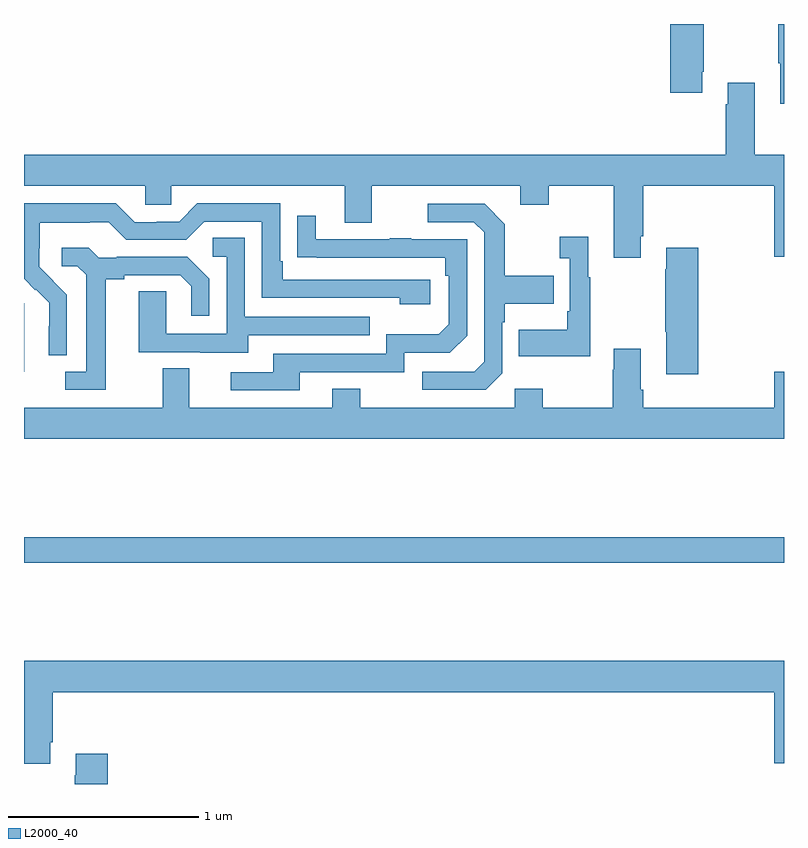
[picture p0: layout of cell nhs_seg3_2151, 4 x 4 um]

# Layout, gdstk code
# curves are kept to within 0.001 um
import gdstk
lib = gdstk.Library(unit=1e-6, precision=1e-09)
def R(c, l, rs):  # rectangles x0, y0, x1, y1
    for r in rs: c.add(gdstk.rectangle(r[:2], r[2:], *l))
def P(c, l, *ps):  # polygons
    for p in ps: c.add(gdstk.Polygon(p, *l))
L2000_40 = (2000, 40)

nhs_seg3_2151 = lib.new_cell('nhs_seg3_2151')
R(nhs_seg3_2151, L2000_40, [(221,733.564,225,733.7), (221,734.57,221.002,734.931)])
P(nhs_seg3_2151, L2000_40, [(225,736.4),(224.97,736.4),(224.97,736.193),(224.981,736.193),(224.981,735.981),(225,735.981)],
  [(224.569,736.15),(224.577,736.15),(224.577,736.4),(224.402,736.4),(224.402,736.038),(224.569,736.038)],
  [(224.245,735.283),(224.258,735.283),(224.258,735.548),(224.948,735.548),(224.948,735.174),(225,735.174),(225,735.712),(224.845,735.712),(224.845,736.09),(224.705,736.09),(224.705,735.977),(224.693,735.977),(224.693,735.712),(221,735.712),(221,735.548),(221.637,735.548),(221.637,735.45),(221.775,735.45),(221.775,735.548),(222.689,735.548),(222.689,735.354),(222.829,735.354),(222.829,735.548),(223.613,735.548),(223.613,735.449),(223.761,735.449),(223.761,735.548),(224.105,735.548),(224.105,735.171),(224.245,735.171)],
  [(221.226,734.974),(221.08,735.122),(221.08,735.219),(221.082,735.219),(221.082,735.353),(221.345,735.353),(221.345,735.357),(221.445,735.357),(221.538,735.264),(221.853,735.264),(221.949,735.36),(222.252,735.36),(222.252,734.958),(222.977,734.958),(222.977,734.924),(223.138,734.924),(223.138,735.054),(222.361,735.054),(222.361,735.151),(222.348,735.151),(222.348,735.456),(221.913,735.456),(221.817,735.36),(221.699,735.36),(221.699,735.357),(221.583,735.357),(221.483,735.457),(221,735.457),(221,735.058),(221.058,735),(221.061,735.003),(221.132,734.933),(221.132,734.81),(221.13,734.81),(221.13,734.656),(221.226,734.656)],
  [(223.518,734.562),(223.518,734.831),(223.531,734.831),(223.531,734.927),(223.787,734.927),(223.787,735.075),(223.531,735.075),(223.531,735.347),(223.425,735.453),(223.125,735.453),(223.125,735.357),(223.368,735.357),(223.422,735.303),(223.422,734.622),(223.371,734.571),(223.095,734.571),(223.095,734.475),(223.431,734.475)],
  [(222.451,734.568),(223.002,734.568),(223.002,734.67),(223.242,734.67),(223.332,734.76),(223.332,735.267),(223.037,735.267),(223.037,735.272),(222.925,735.272),(222.925,735.267),(222.535,735.267),(222.535,735.391),(222.439,735.391),(222.439,735.172),(223.216,735.171),(223.216,735.074),(223.236,735.074),(223.236,734.82),(223.183,734.767),(222.906,734.767),(222.906,734.664),(222.311,734.664),(222.311,734.568),(222.087,734.568),(222.087,734.472),(222.451,734.472)],
  [(223.981,735.067),(223.969,735.067),(223.969,735.28),(223.821,735.28),(223.821,735.167),(223.872,735.167),(223.872,734.887),(223.86,734.887),(223.86,734.791),(223.603,734.791),(223.603,734.651),(223.981,734.651)],
  [(222.181,734.763),(222.821,734.763),(222.821,734.859),(222.162,734.859),(222.162,735.275),(221.994,735.275),(221.994,735.174),(222.066,735.174),(222.066,734.769),(221.748,734.769),(221.748,734.993),(221.603,734.993),(221.603,734.673),(221.927,734.673),(221.927,734.669),(222.181,734.669)],
  [(224.549,735.223),(224.381,735.223),(224.381,735.11),(224.374,735.11),(224.374,734.779),(224.381,734.779),(224.381,734.556),(224.549,734.556)],
  [(221.431,735.056),(221.527,735.056),(221.527,735.078),(221.822,735.078),(221.879,735.021),(221.879,734.865),(221.976,734.865),(221.976,735.058),(221.86,735.174),(221.488,735.174),(221.488,735.171),(221.394,735.171),(221.342,735.223),(221.199,735.223),(221.199,735.126),(221.28,735.126),(221.327,735.079),(221.327,734.571),(221.217,734.571),(221.217,734.475),(221.431,734.475)],
  [(225,734.569),(224.948,734.569),(224.948,734.38),(224.258,734.38),(224.258,734.476),(224.245,734.476),(224.245,734.692),(224.105,734.692),(224.105,734.579),(224.098,734.579),(224.098,734.38),(223.731,734.38),(223.731,734.479),(223.584,734.479),(223.584,734.38),(222.771,734.38),(222.771,734.479),(222.623,734.479),(222.623,734.38),(221.869,734.38),(221.869,734.588),(221.729,734.588),(221.729,734.38),(221,734.38),(221,734.216),(225,734.216)],
  [(221.137,732.619),(221.15,732.619),(221.15,732.884),(224.948,732.884),(224.948,732.51),(225,732.51),(225,733.048),(221,733.048),(221,732.507),(221.137,732.507)],
  [(221.441,732.559),(221.273,732.559),(221.273,732.446),(221.266,732.446),(221.266,732.4),(221.441,732.4)])

lib.write_gds('nhs_seg3_2151.gds')
